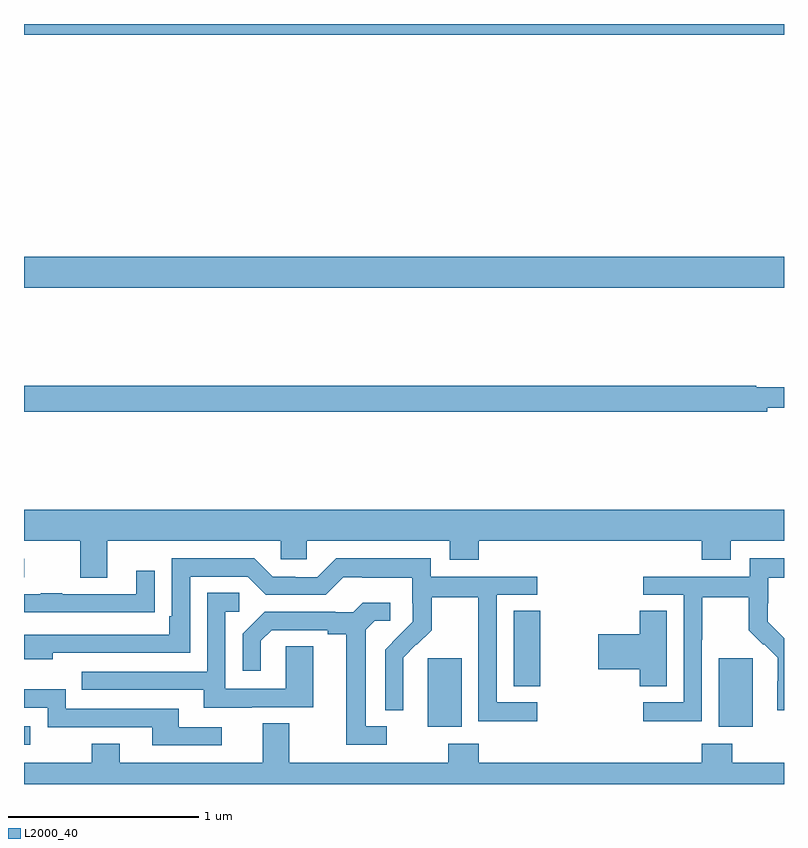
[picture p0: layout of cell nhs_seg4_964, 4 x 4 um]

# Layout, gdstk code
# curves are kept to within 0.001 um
import gdstk
lib = gdstk.Library(unit=1e-6, precision=1e-09)
def R(c, l, rs):  # rectangles x0, y0, x1, y1
    for r in rs: c.add(gdstk.rectangle(r[:2], r[2:], *l))
def P(c, l, *ps):  # polygons
    for p in ps: c.add(gdstk.Polygon(p, *l))
L2000_40 = (2000, 40)

nhs_seg4_964 = lib.new_cell('nhs_seg4_964')
R(nhs_seg4_964, L2000_40, [(161,769.107,161.032,769.203), (163.124,769.202,163.303,769.563), (164.657,769.202,164.836,769.563), (163.577,769.414,163.716,769.811), (161,769.989,161.002,770.085), (161,771.512,165,771.676), (161,772.844,165,772.9)])
P(nhs_seg4_964, L2000_40, [(164.912,770.879),(165,770.879),(165,770.989),(164.855,770.989),(164.855,770.996),(161,770.996),(161,770.86),(164.912,770.86)],
  [(161.437,770.18),(162.351,770.18),(162.351,770.082),(162.489,770.082),(162.489,770.18),(163.241,770.18),(163.241,770.081),(163.394,770.081),(163.394,770.18),(164.567,770.18),(164.567,770.081),(164.719,770.081),(164.719,770.18),(165,770.18),(165,770.344),(161,770.344),(161,770.18),(161.297,770.18),(161.297,769.986),(161.437,769.986)],
  [(163.702,769.329),(163.488,769.329),(163.488,769.896),(163.702,769.896),(163.702,769.992),(163.14,769.992),(163.14,770.089),(162.643,770.089),(162.543,769.989),(162.428,769.989),(162.428,769.992),(162.309,769.992),(162.213,770.088),(161.778,770.088),(161.778,769.783),(161.765,769.783),(161.765,769.686),(161,769.686),(161,769.556),(161.15,769.556),(161.15,769.59),(161.874,769.59),(161.874,769.992),(162.177,769.992),(162.273,769.896),(162.588,769.896),(162.681,769.989),(162.781,769.989),(162.781,769.985),(163.044,769.985),(163.044,769.851),(163.046,769.851),(163.046,769.754),(162.9,769.606),(162.9,769.288),(162.996,769.288),(162.995,769.565),(163.065,769.635),(163.068,769.632),(163.145,769.709),(163.145,769.884),(163.39,769.884),(163.39,769.66),(163.392,769.66),(163.392,769.231),(163.702,769.231)],
  [(164.568,769.66),(164.571,769.66),(164.571,769.884),(164.815,769.884),(164.815,769.709),(164.892,769.632),(164.895,769.635),(164.966,769.565),(164.966,769.442),(164.964,769.442),(164.964,769.288),(165,769.288),(165,769.666),(164.987,769.679),(164.988,769.68),(164.914,769.754),(164.914,769.851),(164.916,769.851),(164.916,769.985),(165,769.985),(165,770.089),(164.82,770.089),(164.82,769.992),(164.259,769.992),(164.259,769.896),(164.472,769.896),(164.472,769.329),(164.259,769.329),(164.259,769.231),(164.568,769.231)],
  [(161.585,769.804),(161.687,769.804),(161.687,770.023),(161.591,770.023),(161.591,769.899),(161.201,769.899),(161.201,769.904),(161.089,769.904),(161.089,769.899),(161,769.899),(161,769.803),(161.585,769.803)],
  [(162.199,769.305),(162.523,769.305),(162.523,769.625),(162.378,769.625),(162.378,769.401),(162.06,769.401),(162.06,769.806),(162.133,769.806),(162.133,769.907),(161.964,769.907),(161.964,769.491),(161.305,769.491),(161.305,769.395),(161.945,769.395),(161.945,769.301),(162.199,769.301)],
  [(162.91,769.203),(162.799,769.203),(162.799,769.711),(162.846,769.758),(162.928,769.758),(162.928,769.855),(162.784,769.855),(162.732,769.803),(162.638,769.803),(162.638,769.806),(162.266,769.806),(162.15,769.69),(162.15,769.497),(162.247,769.497),(162.247,769.653),(162.304,769.71),(162.599,769.71),(162.599,769.688),(162.695,769.688),(162.695,769.107),(162.91,769.107)],
  [(164.383,769.811),(164.24,769.811),(164.24,769.688),(164.022,769.688),(164.022,769.505),(164.24,769.505),(164.24,769.414),(164.383,769.414)],
  [(162.04,769.2),(161.815,769.2),(161.815,769.296),(161.22,769.296),(161.22,769.399),(161,769.399),(161,769.302),(161.124,769.302),(161.124,769.2),(161.675,769.2),(161.675,769.104),(162.04,769.104)],
  [(165,769.012),(164.727,769.012),(164.727,769.111),(164.567,769.111),(164.567,769.012),(163.394,769.012),(163.394,769.111),(163.234,769.111),(163.234,769.012),(162.397,769.012),(162.397,769.22),(162.257,769.22),(162.257,769.012),(161.503,769.012),(161.503,769.111),(161.356,769.111),(161.356,769.012),(161,769.012),(161,768.9),(165,768.9)])

lib.write_gds('nhs_seg4_964.gds')
